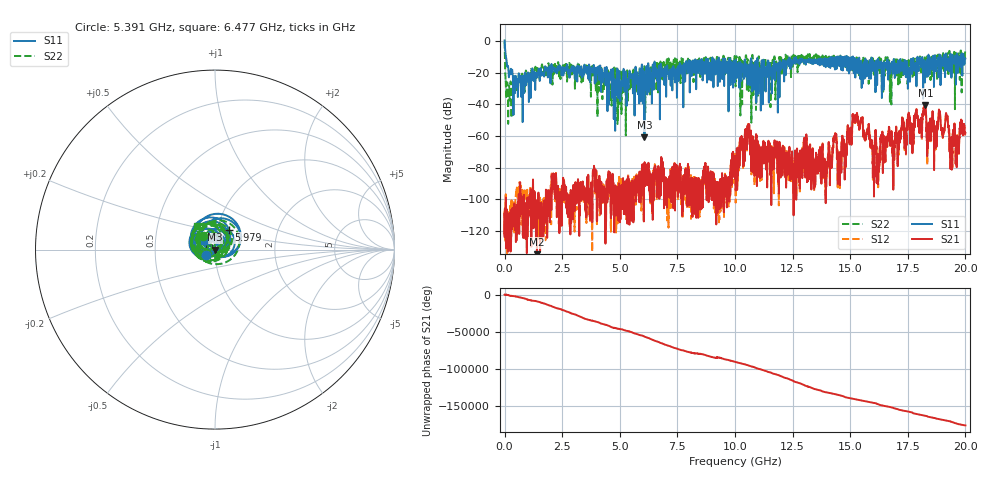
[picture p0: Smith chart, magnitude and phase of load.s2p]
! MS46122B
! 2250307/22442219
! 2/20/2026 8:56:55 AM
! C:\USERS\SPARKY\DOCUMENTS\VNA_DATA\FEB20_2026\LOAD.S2P
! CHANNEL.1
! TR.MEASUREMENT
! RAW.DATA
# GHZ S RI R 50.0
! FREQ.GHZ  S11RE  S11IM  S21RE  S21IM  S12RE  S12IM  S22RE  S22IM
!; PortSelection: Port_12
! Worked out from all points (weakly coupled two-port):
!   10001 points, 1 MHz to 20 GHz, reference 50 ohm
!   highest |S21| = -40.49 dB at 18.26 GHz (marker M1); lowest = -140.0 dB at 1.403 GHz (marker M2)
!   lowest |S11| = -60.8 dB at 6.069 GHz (marker M3), VSWR 1.00, Z = 49.9 - j0.0468 ohm
!   |S11| at or under -10 dB: 59.15 MHz to 14.17 GHz (14.11 GHz wide, 198 % of centre); 15.13 GHz to 17.91 GHz (2.788 GHz wide, 16.9 % of centre); 17.93 GHz to 18.38 GHz (454.1 MHz wide, 2.5 % of centre) (the widest 3 of 23)
!   |S22| runs from -59.6 to -0.2 dB; largest |S21 - S12| = 0.0012
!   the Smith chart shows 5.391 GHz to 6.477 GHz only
!   S11 on the Smith chart (normalised r, x): 5.391 GHz: 0.90, -0.05; 5.979 GHz: 1.14, +0.25; 6.477 GHz: 0.88, +0.08
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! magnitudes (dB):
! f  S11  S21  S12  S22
! 1 MHz  0.4  -108.5  -110.4  -0.2
! 231 MHz  -20.9  -115.2  -108.1  -33.2
! 1.403 GHz  -22.9  -140.0  -115.9  -18.1
! 3.335 GHz  -16.2  -90.5  -90.8  -24.8
! 5.391 GHz  -24.8  -88.1  -87.8  -19.9
! 5.979 GHz  -17.4  -78.9  -79.3  -20.8
! 6.069 GHz  -60.8  -77.5  -78.9  -15.9
! 6.477 GHz  -22.3  -89.7  -88.4  -15.5
! 6.669 GHz  -30.8  -80.5  -79.5  -24.9
! 10 GHz  -22.3  -76.9  -76.7  -10.7
! 10.53 GHz  -19.0  -58.6  -58.9  -18.7
! 11.09 GHz  -18.7  -78.5  -79.6  -17.5
! 13.33 GHz  -14.3  -71.7  -71.6  -12.3
! 14.32 GHz  -12.7  -60.3  -60.6  -13.8
! 14.52 GHz  -10.9  -70.3  -70.3  -13.0
! 15.2 GHz  -13.3  -48.7  -48.6  -12.4
! 16.22 GHz  -12.0  -78.6  -78.3  -19.1
! 16.67 GHz  -17.0  -56.5  -56.8  -15.5
! 18.26 GHz  -17.2  -40.5  -40.7  -15.5
! 19.2 GHz  -18.0  -47.9  -48.1  -9.7
! 19.41 GHz  -12.5  -73.9  -73.2  -10.2
! 20 GHz  -11.0  -58.1  -58.8  -6.1
